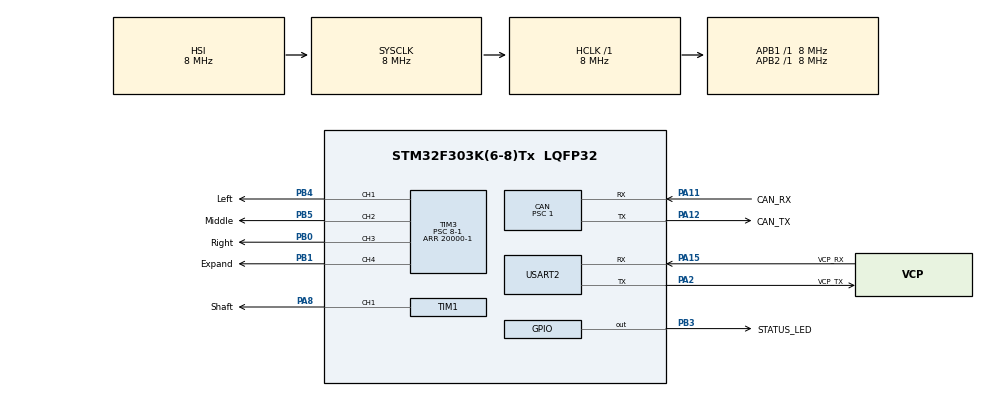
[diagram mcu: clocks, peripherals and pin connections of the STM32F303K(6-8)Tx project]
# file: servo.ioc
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CAN.BS1=CAN_BS1_6TQ
CAN.CalculateBaudRate=1000000
CAN.CalculateTimeBit=1000
CAN.CalculateTimeQuantum=125.0
CAN.Prescaler=1
Mcu.Family=STM32F3
Mcu.Name=STM32F303K(6-8)Tx
Mcu.Package=LQFP32
NVIC.CAN_RX0_IRQn=true\:0\:0\:false\:false\:true\:true\:true\:true
NVIC.PriorityGroup=NVIC_PRIORITYGROUP_4
PA11.GPIO_Label=CAN_RX
PA11.Mode=CAN_Activate
PA11.Signal=CAN_RX
PA12.GPIO_Label=CAN_TX
PA12.Mode=CAN_Activate
PA12.Signal=CAN_TX
PA13.GPIO_Label=SWDIO
PA13.Mode=Serial_Wire
PA13.Signal=SYS_JTMS-SWDIO
PA14.GPIO_Label=SWCLK
PA14.Mode=Serial_Wire
PA14.Signal=SYS_JTCK-SWCLK
PA15.GPIO_Label=VCP_RX
PA15.Mode=Asynchronous
PA15.Signal=USART2_RX
PA2.GPIO_Label=VCP_TX
PA2.Mode=Asynchronous
PA2.Signal=USART2_TX
PA8.GPIO_Label=Shaft
PA8.Signal=S_TIM1_CH1
PB0.GPIO_Label=Right
PB0.Signal=S_TIM3_CH3
PB1.GPIO_Label=Expand
PB1.Signal=S_TIM3_CH4
PB3.GPIO_Label=STATUS_LED
PB3.Signal=GPIO_Output
PB4.GPIO_Label=Left
PB4.Signal=S_TIM3_CH1
PB5.GPIO_Label=Middle
PB5.Signal=S_TIM3_CH2
PF0\ /\ OSC_IN.GPIO_Label=MCO
PF0\ /\ OSC_IN.Mode=HSE-External-Clock-Source
PF0\ /\ OSC_IN.Signal=RCC_OSC_IN
ProjectManager.HeapSize=0x200
ProjectManager.StackSize=0x400
ProjectManager.TargetToolchain=CMake
RCC.AHBFreq_Value=8000000
RCC.APB1Freq_Value=8000000
RCC.APB2Freq_Value=8000000
RCC.CortexFreq_Value=8000000
RCC.HSE_VALUE=8000000
RCC.HSI_VALUE=8000000
RCC.SYSCLKFreq_VALUE=8000000
SH.S_TIM1_CH1.0=TIM1_CH1,PWM Generation1 CH1
SH.S_TIM3_CH1.0=TIM3_CH1,PWM Generation1 CH1
SH.S_TIM3_CH2.0=TIM3_CH2,PWM Generation2 CH2
SH.S_TIM3_CH3.0=TIM3_CH3,PWM Generation3 CH3
SH.S_TIM3_CH4.0=TIM3_CH4,PWM Generation4 CH4
TIM1.Channel-PWM\ Generation1\ CH1=TIM_CHANNEL_1
TIM1.Period=20000-1
TIM1.Prescaler=8-1
TIM3.Channel-PWM\ Generation1\ CH1=TIM_CHANNEL_1
TIM3.Channel-PWM\ Generation2\ CH2=TIM_CHANNEL_2
TIM3.Channel-PWM\ Generation3\ CH3=TIM_CHANNEL_3
TIM3.Channel-PWM\ Generation4\ CH4=TIM_CHANNEL_4
TIM3.Period=20000-1
TIM3.Prescaler=8-1
TIM3.Pulse-PWM\ Generation1\ CH1=1500
TIM3.Pulse-PWM\ Generation2\ CH2=1500
TIM3.Pulse-PWM\ Generation3\ CH3=1500
TIM3.Pulse-PWM\ Generation4\ CH4=1500
USART2.VirtualMode-Asynchronous=VM_ASYNC
VP_TIM1_VS_ClockSourceINT.Mode=Internal
VP_TIM3_VS_ClockSourceINT.Mode=Internal
board=NUCLEO-F303K8

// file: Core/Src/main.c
/* USER CODE BEGIN Header */
/**
  ******************************************************************************
  * @file           : main.c
  * @brief          : Main program body
  ******************************************************************************
  * @attention
  *
  * Copyright (c) 2026 STMicroelectronics.
  * All rights reserved.
  *
  * This software is licensed under terms that can be found in the LICENSE file
  * in the root directory of this software component.
  * If no LICENSE file comes with this software, it is provided AS-IS.
  *
  ******************************************************************************
  */
/* USER CODE END Header */
#include "main.h"

/* USER CODE BEGIN Includes */
#include "can_protocol.h"
#include "coordinate.h"
/* USER CODE END Includes */

/* USER CODE BEGIN PD */
#define SERVO_0   500
#define SERVO_270 2500
/* USER CODE END PD */

CAN_HandleTypeDef hcan;

TIM_HandleTypeDef htim1;
TIM_HandleTypeDef htim3;

UART_HandleTypeDef huart2;

/* USER CODE BEGIN PV */
CAN_RxHeaderTypeDef rx_header;
can_data_t rx_data = {0};

can_data_t riveWatch_rx_data = {0};
volatile uint32_t live_id = 0;
volatile uint32_t rx_count = 0;
/* USER CODE END PV */

void SystemClock_Config(void);
static void MX_GPIO_Init(void);
static void MX_USART2_UART_Init(void);
static void MX_CAN_Init(void);
static void MX_TIM1_Init(void);
static void MX_TIM3_Init(void);
/* USER CODE BEGIN PFP */
HAL_StatusTypeDef can_send(can_command_data_t *com);
/* USER CODE END PFP */

/* USER CODE BEGIN 0 */
HAL_StatusTypeDef can_send(can_command_data_t *com){
  CAN_TxHeaderTypeDef tx_header;
  uint32_t tx_mailbox;

  tx_header.StdId = com->id;
  tx_header.ExtId = 0;
  tx_header.IDE = CAN_ID_STD;
  tx_header.RTR = CAN_RTR_DATA;
  tx_header.DLC = CAN_DLC; //can_protocol.h
  tx_header.TransmitGlobalTime = DISABLE;

  return HAL_CAN_AddTxMessage(&hcan,&tx_header,com->data.raw,&tx_mailbox);
}

void HAL_CAN_RxFifo0MsgPendingCallback(CAN_HandleTypeDef *hcan){
  if(hcan->Instance != CAN)return;
  if(HAL_CAN_GetRxMessage(hcan,CAN_RX_FIFO0,&rx_header,rx_data.raw) != HAL_OK)return;
  HAL_GPIO_TogglePin(STATUS_LED_GPIO_Port,STATUS_LED_Pin);

  live_id = rx_header.StdId;
  rx_count++;

  switch (rx_header.StdId) {
  case CAN_ID_LOWER_ARM:

    riveWatch_rx_data = rx_data;

    if(rx_data.lower_arm.hand.left){__HAL_TIM_SET_COMPARE(&Left_htim,Left_TIM_CHANNEL,SERVO_270);}else{__HAL_TIM_SET_COMPARE(&Left_htim,Left_TIM_CHANNEL,SERVO_0);}
    if(rx_data.lower_arm.hand.middle){__HAL_TIM_SET_COMPARE(&Middle_htim,Middle_TIM_CHANNEL,SERVO_270);}else{__HAL_TIM_SET_COMPARE(&Middle_htim,Middle_TIM_CHANNEL,SERVO_0);}
    if(rx_data.lower_arm.hand.right){__HAL_TIM_SET_COMPARE(&Right_htim,Right_TIM_CHANNEL,SERVO_270);}else{__HAL_TIM_SET_COMPARE(&Right_htim,Right_TIM_CHANNEL,SERVO_0);}
    if(rx_data.lower_arm.hand.expand){__HAL_TIM_SET_COMPARE(&Expand_htim,Expand_TIM_CHANNEL,SERVO_270);}else{__HAL_TIM_SET_COMPARE(&Expand_htim,Expand_TIM_CHANNEL,SERVO_0);}
    direct_t direct = {.x = rx_data.lower_arm.x, .y = rx_data.lower_arm.y};
    __HAL_TIM_SET_COMPARE(&Shaft_htim,Shaft_TIM_CHANNEL,to_polar(direct).theta * (SERVO_270 - SERVO_0) / (1.5 * 3.14) + SERVO_0);
    break;

  case CAN_ID_LOWER_HOMING:
    __HAL_TIM_SET_COMPARE(&Left_htim,Left_TIM_CHANNEL,SERVO_0);
    __HAL_TIM_SET_COMPARE(&Middle_htim,Middle_TIM_CHANNEL,SERVO_0);
    __HAL_TIM_SET_COMPARE(&Right_htim,Right_TIM_CHANNEL,SERVO_0);
    __HAL_TIM_SET_COMPARE(&Expand_htim,Expand_TIM_CHANNEL,SERVO_0);
    break;

  default:
    break;
  }
}
/* USER CODE END 0 */

int main(void)
{

  /* MCU Configuration--------------------------------------------------------*/

  /* Reset of all peripherals, Initializes the Flash interface and the Systick. */
  HAL_Init();

  /* Configure the system clock */
  SystemClock_Config();

  /* Initialize all configured peripherals */
  MX_GPIO_Init();
  MX_USART2_UART_Init();
  MX_CAN_Init();
  MX_TIM1_Init();
  MX_TIM3_Init();
  /* USER CODE BEGIN 2 */
  HAL_TIM_PWM_Start(&htim3, TIM_CHANNEL_1);
  HAL_TIM_PWM_Start(&htim3, TIM_CHANNEL_2);
  HAL_TIM_PWM_Start(&htim3, TIM_CHANNEL_3);
  HAL_TIM_PWM_Start(&htim3, TIM_CHANNEL_4);

  HAL_TIM_PWM_Start(&htim1, TIM_CHANNEL_1);

  HAL_CAN_Start(&hcan);
  HAL_GPIO_WritePin(
    STATUS_LED_GPIO_Port,
    STATUS_LED_Pin,
    GPIO_PIN_SET
  );
  /* USER CODE END 2 */

  /* Infinite loop */
  while (1)
  {

  }
}

void SystemClock_Config(void)
{
  RCC_OscInitTypeDef RCC_OscInitStruct = {0};
  RCC_ClkInitTypeDef RCC_ClkInitStruct = {0};
  RCC_PeriphCLKInitTypeDef PeriphClkInit = {0};

  /** Initializes the RCC Oscillators according to the specified parameters
  * in the RCC_OscInitTypeDef structure.
  */
  RCC_OscInitStruct.OscillatorType = RCC_OSCILLATORTYPE_HSI;
  RCC_OscInitStruct.HSIState = RCC_HSI_ON;
  RCC_OscInitStruct.HSICalibrationValue = RCC_HSICALIBRATION_DEFAULT;
  RCC_OscInitStruct.PLL.PLLState = RCC_PLL_NONE;
  if (HAL_RCC_OscConfig(&RCC_OscInitStruct) != HAL_OK)
  {
    Error_Handler();
  }

  /** Initializes the CPU, AHB and APB buses clocks
  */
  RCC_ClkInitStruct.ClockType = RCC_CLOCKTYPE_HCLK|RCC_CLOCKTYPE_SYSCLK
                              |RCC_CLOCKTYPE_PCLK1|RCC_CLOCKTYPE_PCLK2;
  RCC_ClkInitStruct.SYSCLKSource = RCC_SYSCLKSOURCE_HSI;
  RCC_ClkInitStruct.AHBCLKDivider = RCC_SYSCLK_DIV1;
  RCC_ClkInitStruct.APB1CLKDivider = RCC_HCLK_DIV1;
  RCC_ClkInitStruct.APB2CLKDivider = RCC_HCLK_DIV1;

  if (HAL_RCC_ClockConfig(&RCC_ClkInitStruct, FLASH_LATENCY_0) != HAL_OK)
  {
    Error_Handler();
  }
  PeriphClkInit.PeriphClockSelection = RCC_PERIPHCLK_TIM1;
  PeriphClkInit.Tim1ClockSelection = RCC_TIM1CLK_HCLK;
  if (HAL_RCCEx_PeriphCLKConfig(&PeriphClkInit) != HAL_OK)
  {
    Error_Handler();
  }
}

static void MX_CAN_Init(void)
{

  hcan.Instance = CAN;
  hcan.Init.Prescaler = 1;
  hcan.Init.Mode = CAN_MODE_NORMAL;
  hcan.Init.SyncJumpWidth = CAN_SJW_1TQ;
  hcan.Init.TimeSeg1 = CAN_BS1_6TQ;
  hcan.Init.TimeSeg2 = CAN_BS2_1TQ;
  hcan.Init.TimeTriggeredMode = DISABLE;
  hcan.Init.AutoBusOff = DISABLE;
  hcan.Init.AutoWakeUp = DISABLE;
  hcan.Init.AutoRetransmission = DISABLE;
  hcan.Init.ReceiveFifoLocked = DISABLE;
  hcan.Init.TransmitFifoPriority = DISABLE;
  if (HAL_CAN_Init(&hcan) != HAL_OK)
  {
    Error_Handler();
  }
  /* USER CODE BEGIN CAN_Init 2 */
  /* can_rx setting */
  CAN_FilterTypeDef filter;

  filter.FilterBank = 0;
  filter.FilterMode = CAN_FILTERMODE_IDMASK;
  filter.FilterScale = CAN_FILTERSCALE_32BIT;

  /* 受信IDフィルター　全受信 */
  filter.FilterIdHigh = 0x0000;
  filter.FilterIdLow = 0x0000;
  filter.FilterMaskIdHigh = 0x0000;
  filter.FilterMaskIdLow = 0x0000;

  filter.FilterFIFOAssignment = CAN_RX_FIFO0; //fifo(first-in first-out) = Queue
  filter.FilterActivation = ENABLE;

  if (HAL_CAN_ConfigFilter(&hcan, &filter) != HAL_OK) {
      Error_Handler();
  }
  if (HAL_CAN_ActivateNotification(&hcan,CAN_IT_RX_FIFO0_MSG_PENDING) != HAL_OK) {
    Error_Handler();
  }
  /* can_rx setting */
  /* USER CODE END CAN_Init 2 */

}

static void MX_TIM1_Init(void)
{

  TIM_ClockConfigTypeDef sClockSourceConfig = {0};
  TIM_MasterConfigTypeDef sMasterConfig = {0};
  TIM_OC_InitTypeDef sConfigOC = {0};
  TIM_BreakDeadTimeConfigTypeDef sBreakDeadTimeConfig = {0};

  htim1.Instance = TIM1;
  htim1.Init.Prescaler = 8-1;
  htim1.Init.CounterMode = TIM_COUNTERMODE_UP;
  htim1.Init.Period = 2000-1;
  htim1.Init.ClockDivision = TIM_CLOCKDIVISION_DIV1;
  htim1.Init.RepetitionCounter = 0;
  htim1.Init.AutoReloadPreload = TIM_AUTORELOAD_PRELOAD_DISABLE;
  if (HAL_TIM_Base_Init(&htim1) != HAL_OK)
  {
    Error_Handler();
  }
  sClockSourceConfig.ClockSource = TIM_CLOCKSOURCE_INTERNAL;
  if (HAL_TIM_ConfigClockSource(&htim1, &sClockSourceConfig) != HAL_OK)
  {
    Error_Handler();
  }
  if (HAL_TIM_PWM_Init(&htim1) != HAL_OK)
  {
    Error_Handler();
  }
  sMasterConfig.MasterOutputTrigger = TIM_TRGO_RESET;
  sMasterConfig.MasterOutputTrigger2 = TIM_TRGO2_RESET;
  sMasterConfig.MasterSlaveMode = TIM_MASTERSLAVEMODE_DISABLE;
  if (HAL_TIMEx_MasterConfigSynchronization(&htim1, &sMasterConfig) != HAL_OK)
  {
    Error_Handler();
  }
  sConfigOC.OCMode = TIM_OCMODE_PWM1;
  sConfigOC.Pulse = 0;
  sConfigOC.OCPolarity = TIM_OCPOLARITY_HIGH;
  sConfigOC.OCNPolarity = TIM_OCNPOLARITY_HIGH;
  sConfigOC.OCFastMode = TIM_OCFAST_DISABLE;
  sConfigOC.OCIdleState = TIM_OCIDLESTATE_RESET;
  sConfigOC.OCNIdleState = TIM_OCNIDLESTATE_RESET;
  if (HAL_TIM_PWM_ConfigChannel(&htim1, &sConfigOC, TIM_CHANNEL_1) != HAL_OK)
  {
    Error_Handler();
  }
  sBreakDeadTimeConfig.OffStateRunMode = TIM_OSSR_DISABLE;
  sBreakDeadTimeConfig.OffStateIDLEMode = TIM_OSSI_DISABLE;
  sBreakDeadTimeConfig.LockLevel = TIM_LOCKLEVEL_OFF;
  sBreakDeadTimeConfig.DeadTime = 0;
  sBreakDeadTimeConfig.BreakState = TIM_BREAK_DISABLE;
  sBreakDeadTimeConfig.BreakPolarity = TIM_BREAKPOLARITY_HIGH;
  sBreakDeadTimeConfig.BreakFilter = 0;
  sBreakDeadTimeConfig.Break2State = TIM_BREAK2_DISABLE;
  sBreakDeadTimeConfig.Break2Polarity = TIM_BREAK2POLARITY_HIGH;
  sBreakDeadTimeConfig.Break2Filter = 0;
  sBreakDeadTimeConfig.AutomaticOutput = TIM_AUTOMATICOUTPUT_DISABLE;
  if (HAL_TIMEx_ConfigBreakDeadTime(&htim1, &sBreakDeadTimeConfig) != HAL_OK)
  {
    Error_Handler();
  }
  HAL_TIM_MspPostInit(&htim1);

}

static void MX_TIM3_Init(void)
{

  TIM_ClockConfigTypeDef sClockSourceConfig = {0};
  TIM_MasterConfigTypeDef sMasterConfig = {0};
  TIM_OC_InitTypeDef sConfigOC = {0};

  htim3.Instance = TIM3;
  htim3.Init.Prescaler = 8-1;
  htim3.Init.CounterMode = TIM_COUNTERMODE_UP;
  htim3.Init.Period = 2000-1;
  htim3.Init.ClockDivision = TIM_CLOCKDIVISION_DIV1;
  htim3.Init.AutoReloadPreload = TIM_AUTORELOAD_PRELOAD_DISABLE;
  if (HAL_TIM_Base_Init(&htim3) != HAL_OK)
  {
    Error_Handler();
  }
  sClockSourceConfig.ClockSource = TIM_CLOCKSOURCE_INTERNAL;
  if (HAL_TIM_ConfigClockSource(&htim3, &sClockSourceConfig) != HAL_OK)
  {
    Error_Handler();
  }
  if (HAL_TIM_PWM_Init(&htim3) != HAL_OK)
  {
    Error_Handler();
  }
  sMasterConfig.MasterOutputTrigger = TIM_TRGO_RESET;
  sMasterConfig.MasterSlaveMode = TIM_MASTERSLAVEMODE_DISABLE;
  if (HAL_TIMEx_MasterConfigSynchronization(&htim3, &sMasterConfig) != HAL_OK)
  {
    Error_Handler();
  }
  sConfigOC.OCMode = TIM_OCMODE_PWM1;
  sConfigOC.Pulse = 1500;
  sConfigOC.OCPolarity = TIM_OCPOLARITY_HIGH;
  sConfigOC.OCFastMode = TIM_OCFAST_DISABLE;
  if (HAL_TIM_PWM_ConfigChannel(&htim3, &sConfigOC, TIM_CHANNEL_1) != HAL_OK)
  {
    Error_Handler();
  }
  if (HAL_TIM_PWM_ConfigChannel(&htim3, &sConfigOC, TIM_CHANNEL_2) != HAL_OK)
  {
    Error_Handler();
  }
  if (HAL_TIM_PWM_ConfigChannel(&htim3, &sConfigOC, TIM_CHANNEL_3) != HAL_OK)
  {
    Error_Handler();
  }
  if (HAL_TIM_PWM_ConfigChannel(&htim3, &sConfigOC, TIM_CHANNEL_4) != HAL_OK)
  {
    Error_Handler();
  }
  HAL_TIM_MspPostInit(&htim3);

}

static void MX_USART2_UART_Init(void)
{

  huart2.Instance = USART2;
  huart2.Init.BaudRate = 38400;
  huart2.Init.WordLength = UART_WORDLENGTH_8B;
  huart2.Init.StopBits = UART_STOPBITS_1;
  huart2.Init.Parity = UART_PARITY_NONE;
  huart2.Init.Mode = UART_MODE_TX_RX;
  huart2.Init.HwFlowCtl = UART_HWCONTROL_NONE;
  huart2.Init.OverSampling = UART_OVERSAMPLING_16;
  huart2.Init.OneBitSampling = UART_ONE_BIT_SAMPLE_DISABLE;
  huart2.AdvancedInit.AdvFeatureInit = UART_ADVFEATURE_NO_INIT;
  if (HAL_UART_Init(&huart2) != HAL_OK)
  {
    Error_Handler();
  }

}

static void MX_GPIO_Init(void)
{
  GPIO_InitTypeDef GPIO_InitStruct = {0};

  /* GPIO Ports Clock Enable */
  __HAL_RCC_GPIOF_CLK_ENABLE();
  __HAL_RCC_GPIOA_CLK_ENABLE();
  __HAL_RCC_GPIOB_CLK_ENABLE();

  /*Configure GPIO pin Output Level */
  HAL_GPIO_WritePin(STATUS_LED_GPIO_Port, STATUS_LED_Pin, GPIO_PIN_RESET);

  /*Configure GPIO pin : STATUS_LED_Pin */
  GPIO_InitStruct.Pin = STATUS_LED_Pin;
  GPIO_InitStruct.Mode = GPIO_MODE_OUTPUT_PP;
  GPIO_InitStruct.Pull = GPIO_NOPULL;
  GPIO_InitStruct.Speed = GPIO_SPEED_FREQ_LOW;
  HAL_GPIO_Init(STATUS_LED_GPIO_Port, &GPIO_InitStruct);

}

void Error_Handler(void)
{
  /* USER CODE BEGIN Error_Handler_Debug */
  /* User can add his own implementation to report the HAL error return state */
  __disable_irq();
  while (1)
  {
    HAL_GPIO_TogglePin(
    STATUS_LED_GPIO_Port,
    STATUS_LED_Pin
    );
    HAL_Delay(1000);
  }
  /* USER CODE END Error_Handler_Debug */
}
